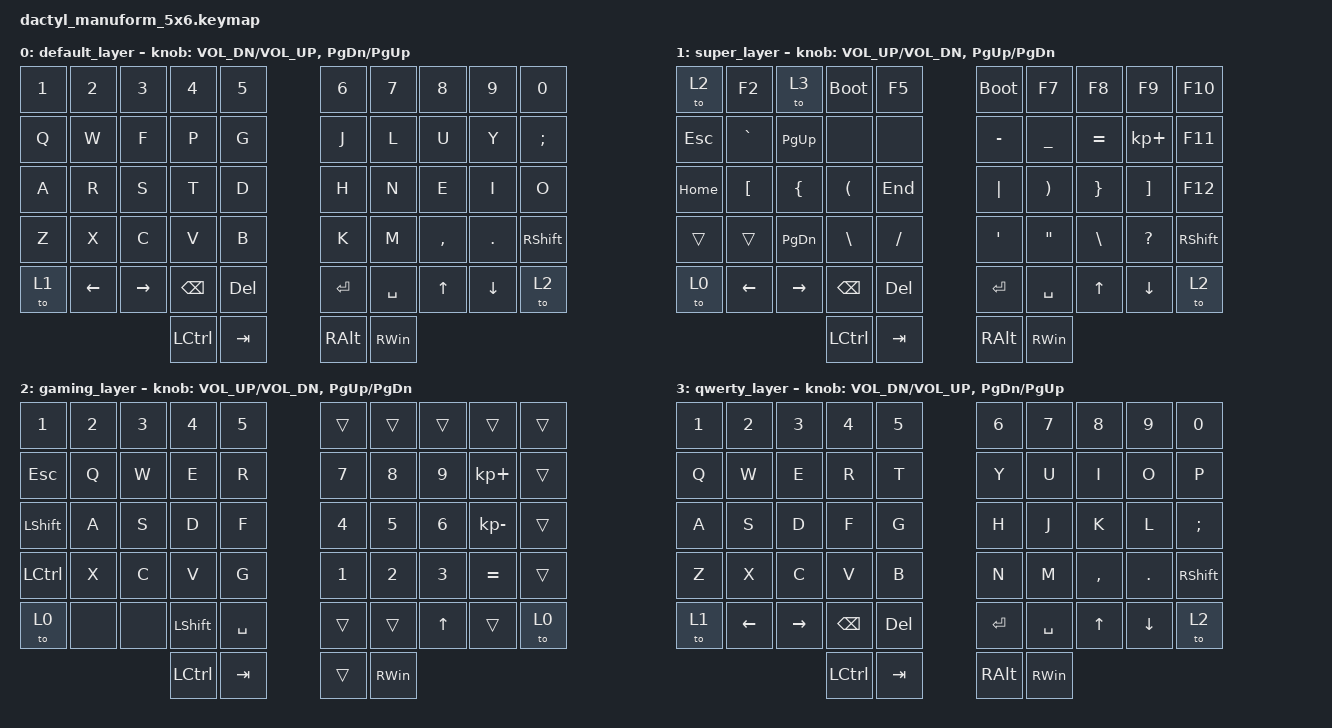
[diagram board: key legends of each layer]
#include <behaviors.dtsi>
#include <dt-bindings/zmk/keys.h>
#include <dt-bindings/zmk/bt.h>
#include <dt-bindings/zmk/outputs.h>

#define DEFAULT 0
#define LWR 1
#define RSE 2
#define ADJ 3

/ { 
    keymap {
        compatible = "zmk,keymap";
// -------------------------------
// |  1  |  2  |  3  |  4  |  5  |
// |  Q  |  W  |  F  |  P  |  G  |
// |  A  |  R  |  S  |  T  |  D  |
// |  Z  |  X  |  C  |  V  |  B  |
//       |  \  |  /  |SHIFT|SPACE|
//                   | Ctrl| Tab |

        default_layer {
            bindings = <
                &kp N1      &kp N2      &kp N3      &kp N4      &kp N5              &kp N6      &kp N7      &kp N8      &kp N9      &kp N0   
                &kp Q       &kp W       &kp F       &kp P       &kp G               &kp J       &kp L       &kp U       &kp Y       &kp SEMI   
                &kp A       &kp R       &kp S       &kp T       &kp D               &kp H       &kp N       &kp E       &kp I       &kp O 
                &kp Z       &kp X       &kp C       &kp V       &kp B               &kp K       &kp M       &kp COMMA   &kp DOT     &kp RSHFT
                &to 1       &kp LEFT    &kp RIGHT   &kp BSPC	&kp DEL       	    &kp ENTER   &kp SPACE   &kp UP      &kp DOWN    &to 2                                         
                                                    &kp LCTRL	&kp TAB             &kp RALT	&kp RWIN
            >;
            sensor-bindings = <&inc_dec_kp C_VOL_DN C_VOL_UP &inc_dec_kp PG_DN PG_UP>;
        };

        super_layer {
            bindings = <
                &to 2		&kp F2		&to 3   	&bootloader     &kp F5              &bootloader &kp F7      &kp F8      &kp F9       &kp F10   
                &kp ESC		&kp GRAVE	&kp PG_UP	&none		&none               &kp MINUS   &kp UNDER   &kp EQUAL   &kp KP_PLUS  &kp F11    
                &kp HOME	&kp LBKT	&kp LBRC	&kp LPAR	&kp END             &kp PIPE    &kp RPAR    &kp RBRC    &kp RBKT     &kp F12 
                &trans		&trans		&kp PG_DN	&kp BSLH	&kp FSLH            &kp SQT     &kp DQT     &kp BSLH    &kp QMARK    &kp RSHFT 
                &to 0		&kp LEFT        &kp RIGHT	&kp BSPC	&kp DEL             &kp ENTER   &kp SPACE   &kp UP	&kp DOWN     &to 2                                    
                                            		        &kp LCTRL	&kp TAB             &kp RALT	&kp RWIN
            >;
            sensor-bindings = <&inc_dec_kp C_VOL_UP C_VOL_DN &inc_dec_kp PG_UP PG_DN>;
        };

        gaming_layer {
            bindings = <
                &kp N1		&kp N2		&kp N3		&kp N4		&kp N5             &trans      &trans      &trans      &trans        &trans   
                &kp ESC		&kp Q		&kp W		&kp E		&kp R              &kp N7      &kp N8      &kp N9      &kp KP_PLUS   &trans    
                &kp LSHFT	&kp A		&kp S		&kp D		&kp F              &kp N4      &kp N5      &kp N6      &kp KP_MINUS  &trans 
                &kp LCTRL	&kp X		&kp C		&kp V		&kp G              &kp N1      &kp N2      &kp N3      &kp EQUAL     &trans 
                &to 0		&none		&none		&kp LSHFT	&kp SPACE          &trans      &trans      &kp UP      &trans        &to 0                                         
                                            		        &kp LCTRL	&kp TAB            &trans      &kp RWIN
            >;
            sensor-bindings = <&inc_dec_kp C_VOL_UP C_VOL_DN &inc_dec_kp PG_UP PG_DN>;
        };

        qwerty_layer {
            bindings = <
                &kp N1      &kp N2      &kp N3      &kp N4      &kp N5              &kp N6      &kp N7      &kp N8      &kp N9      &kp N0   
                &kp Q       &kp W       &kp E       &kp R       &kp T               &kp Y       &kp U       &kp I       &kp O       &kp P   
                &kp A       &kp S       &kp D       &kp F       &kp G               &kp H       &kp J       &kp K       &kp L       &kp SEMI 
                &kp Z       &kp X       &kp C       &kp V       &kp B               &kp N       &kp M       &kp COMMA   &kp DOT     &kp RSHFT
                &to 1       &kp LEFT    &kp RIGHT   &kp BSPC	&kp DEL       	    &kp ENTER   &kp SPACE   &kp UP      &kp DOWN    &to 2                                         
                                                    &kp LCTRL	&kp TAB             &kp RALT	&kp RWIN
            >;
            sensor-bindings = <&inc_dec_kp C_VOL_DN C_VOL_UP &inc_dec_kp PG_DN PG_UP>;
        };
	
    };
};
